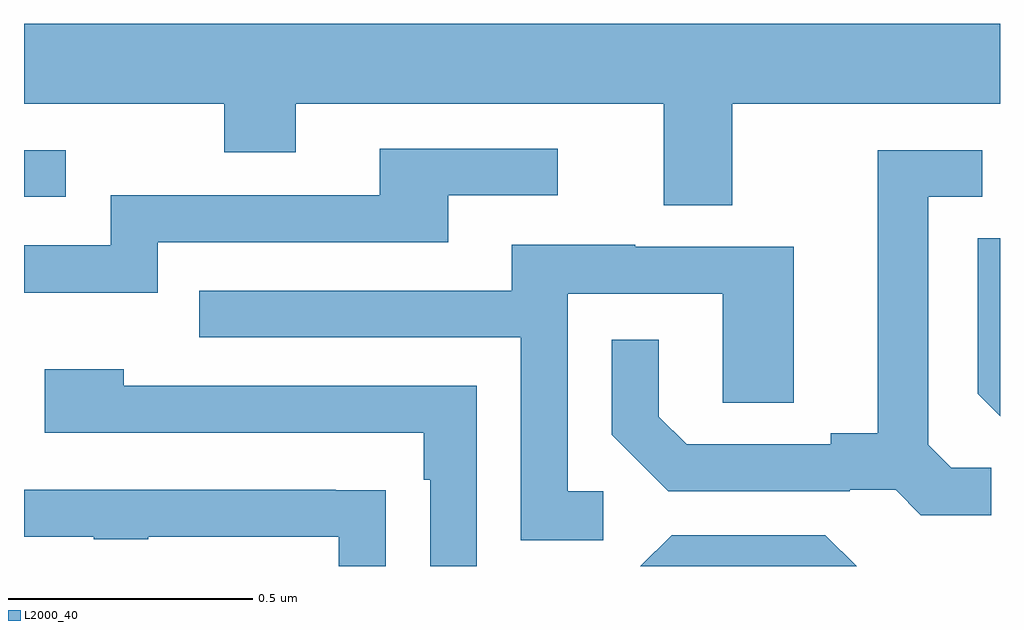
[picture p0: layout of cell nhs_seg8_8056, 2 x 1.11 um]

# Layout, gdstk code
import gdstk
lib = gdstk.Library(unit=1e-6, precision=1e-09)
def R(c, l, rs):  # rectangles x0, y0, x1, y1
    for r in rs: c.add(gdstk.rectangle(r[:2], r[2:], *l))
def P(c, l, *ps):  # polygons
    for p in ps: c.add(gdstk.Polygon(p, *l))
L2000_40 = (2000, 40)

nhs_seg8_8056 = lib.new_cell('nhs_seg8_8056')
R(nhs_seg8_8056, L2000_40, [(218,1101.657,218.086,1101.753)])
P(nhs_seg8_8056, L2000_40, [(219.451,1101.848),(220,1101.848),(220,1102.012),(218,1102.012),(218,1101.848),(218.41,1101.848),(218.41,1101.749),(218.557,1101.749),(218.557,1101.848),(219.311,1101.848),(219.311,1101.64),(219.451,1101.64)],
  [(218.274,1101.564),(218.869,1101.564),(218.869,1101.66),(219.094,1101.66),(219.094,1101.756),(218.729,1101.756),(218.729,1101.66),(218.178,1101.66),(218.178,1101.558),(218,1101.558),(218,1101.461),(218.274,1101.461)],
  [(219.982,1101.102),(219.9,1101.102),(219.853,1101.149),(219.853,1101.657),(219.964,1101.657),(219.964,1101.753),(219.749,1101.753),(219.749,1101.173),(219.653,1101.173),(219.653,1101.15),(219.358,1101.15),(219.301,1101.207),(219.301,1101.364),(219.204,1101.364),(219.204,1101.17),(219.32,1101.054),(219.692,1101.054),(219.692,1101.057),(219.786,1101.057),(219.838,1101.005),(219.982,1101.005)],
  [(220,1101.572),(219.954,1101.572),(219.954,1101.254),(220,1101.208)],
  [(219.187,1101.054),(219.114,1101.054),(219.114,1101.459),(219.432,1101.459),(219.432,1101.235),(219.577,1101.235),(219.577,1101.555),(219.253,1101.555),(219.253,1101.559),(218.999,1101.559),(218.999,1101.465),(218.359,1101.465),(218.359,1101.369),(219.018,1101.369),(219.018,1100.953),(219.187,1100.953)],
  [(218.928,1101.27),(218.204,1101.27),(218.204,1101.304),(218.043,1101.304),(218.043,1101.174),(218.819,1101.174),(218.819,1101.077),(218.832,1101.077),(218.832,1100.9),(218.928,1100.9)],
  [(218.741,1101.056),(218.639,1101.056),(218.639,1101.057),(218,1101.057),(218,1100.961),(218.143,1100.961),(218.143,1100.956),(218.255,1100.956),(218.255,1100.961),(218.645,1100.961),(218.645,1100.9),(218.741,1100.9)],
  [(219.642,1100.964),(219.327,1100.964),(219.263,1100.9),(219.706,1100.9)])

lib.write_gds('nhs_seg8_8056.gds')
